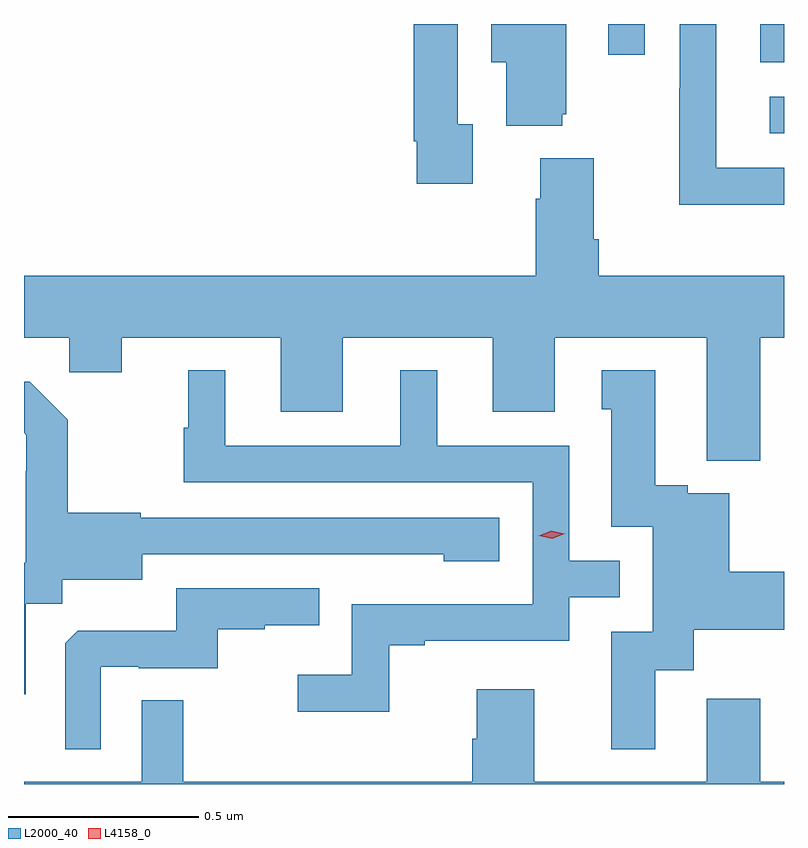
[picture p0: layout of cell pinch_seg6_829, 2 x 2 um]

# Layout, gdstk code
import gdstk
lib = gdstk.Library(unit=1e-6, precision=1e-09)
def R(c, l, rs):  # rectangles x0, y0, x1, y1
    for r in rs: c.add(gdstk.rectangle(r[:2], r[2:], *l))
def P(c, l, *ps):  # polygons
    for p in ps: c.add(gdstk.Polygon(p, *l))
L2000_40 = (2000, 40)
L4158_0 = (4158, 0)

pinch_seg6_829 = lib.new_cell('pinch_seg6_829')
R(pinch_seg6_829, L2000_40, [(194.691,986.502,194.728,986.598), (194.666,986.69,194.728,986.79), (194.265,986.709,194.361,986.79)])
P(pinch_seg6_829, L2000_40, [(194.728,986.412),(194.55,986.412),(194.55,986.79),(194.454,986.79),(194.454,986.621),(194.452,986.621),(194.452,986.315),(194.728,986.315)],
  [(193.909,986.526),(193.869,986.526),(193.869,986.79),(193.753,986.79),(193.753,986.482),(193.761,986.482),(193.761,986.37),(193.909,986.37)],
  [(194.144,986.553),(194.155,986.553),(194.155,986.79),(193.958,986.79),(193.958,986.69),(193.997,986.69),(193.997,986.522),(194.144,986.522)],
  [(194.125,985.964),(194.525,985.964),(194.525,985.641),(194.665,985.641),(194.665,985.964),(194.728,985.964),(194.728,986.128),(194.24,986.128),(194.24,986.224),(194.227,986.224),(194.227,986.437),(194.087,986.437),(194.087,986.33),(194.075,986.33),(194.075,986.128),(192.728,986.128),(192.728,985.964),(192.847,985.964),(192.847,985.874),(192.985,985.874),(192.985,985.964),(193.403,985.964),(193.403,985.77),(193.567,985.77),(193.567,985.964),(193.961,985.964),(193.961,985.77),(194.125,985.77)],
  [(193.689,985.155),(193.783,985.155),(193.783,985.167),(194.163,985.167),(194.163,985.281),(194.296,985.281),(194.296,985.377),(194.163,985.377),(194.163,985.68),(193.816,985.68),(193.816,985.879),(193.718,985.879),(193.718,985.68),(193.258,985.68),(193.258,985.879),(193.16,985.879),(193.16,985.728),(193.149,985.728),(193.149,985.584),(194.067,985.584),(194.067,985.263),(193.59,985.263),(193.59,985.078),(193.449,985.078),(193.449,984.98),(193.689,984.98)],
  [(194.389,985.09),(194.491,985.09),(194.491,985.196),(194.728,985.196),(194.728,985.348),(194.584,985.348),(194.584,985.555),(194.475,985.555),(194.475,985.576),(194.389,985.576),(194.389,985.879),(194.249,985.879),(194.249,985.776),(194.273,985.776),(194.273,985.467),(194.382,985.467),(194.382,985.191),(194.273,985.191),(194.273,984.882),(194.389,984.882)],
  [(192.733,985.264),(192.828,985.264),(192.828,985.328),(193.039,985.328),(193.039,985.395),(193.597,985.395),(193.597,985.394),(193.833,985.394),(193.833,985.376),(193.978,985.376),(193.978,985.491),(193.035,985.491),(193.035,985.504),(192.843,985.504),(192.843,985.749),(192.743,985.849),(192.728,985.849),(192.728,985.714),(192.734,985.708),(192.734,985.613),(192.732,985.613),(192.732,985.372),(192.728,985.372),(192.728,985.026),(192.733,985.026)],
  [(192.93,985.098),(193.03,985.098),(193.03,985.095),(193.238,985.095),(193.238,985.197),(193.361,985.197),(193.361,985.208),(193.505,985.208),(193.505,985.305),(193.128,985.305),(193.128,985.193),(192.869,985.193),(192.837,985.161),(192.837,984.881),(192.93,984.881)],
  [(194.728,984.796),(194.665,984.796),(194.665,985.015),(194.525,985.015),(194.525,984.796),(194.071,984.796),(194.071,985.039),(193.919,985.039),(193.919,984.909),(193.907,984.909),(193.907,984.796),(193.147,984.796),(193.147,985.01),(193.038,985.01),(193.038,984.796),(192.728,984.796),(192.728,984.79),(194.728,984.79)])
P(pinch_seg6_829, L4158_0, [(194.118,985.436),(194.083,985.443),(194.083,985.443),(194.083,985.443),(194.116,985.456),(194.151,985.448),(194.152,985.448),(194.151,985.448)])

lib.write_gds('pinch_seg6_829.gds')
